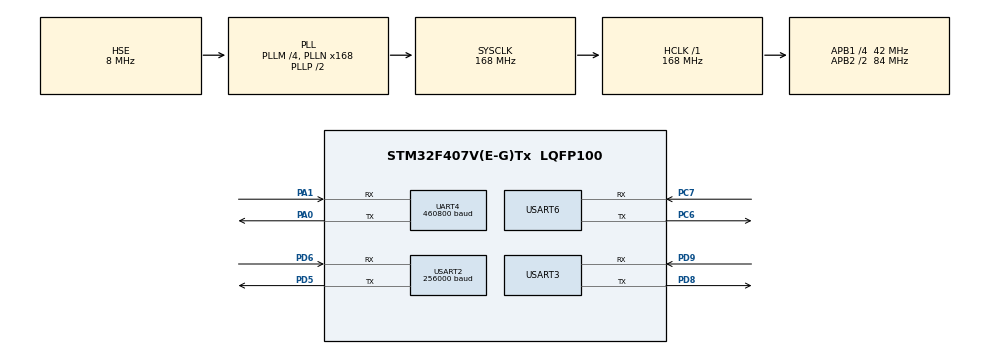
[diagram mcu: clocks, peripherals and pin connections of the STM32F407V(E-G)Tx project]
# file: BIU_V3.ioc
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Dma.Request0=USART2_RX
Dma.Request1=USART2_TX
Dma.Request2=USART3_RX
Dma.Request3=USART3_TX
Dma.Request4=UART4_RX
Dma.Request5=UART4_TX
Dma.Request6=USART6_RX
Dma.Request7=USART6_TX
Dma.UART4_RX.4.Direction=DMA_PERIPH_TO_MEMORY
Dma.UART4_RX.4.FIFOMode=DMA_FIFOMODE_DISABLE
Dma.UART4_RX.4.Instance=DMA1_Stream2
Dma.UART4_RX.4.MemDataAlignment=DMA_MDATAALIGN_BYTE
Dma.UART4_RX.4.MemInc=DMA_MINC_ENABLE
Dma.UART4_RX.4.Mode=DMA_NORMAL
Dma.UART4_RX.4.PeriphDataAlignment=DMA_PDATAALIGN_BYTE
Dma.UART4_RX.4.PeriphInc=DMA_PINC_DISABLE
Dma.UART4_RX.4.Priority=DMA_PRIORITY_LOW
Dma.UART4_TX.5.Direction=DMA_MEMORY_TO_PERIPH
Dma.UART4_TX.5.FIFOMode=DMA_FIFOMODE_DISABLE
Dma.UART4_TX.5.Instance=DMA1_Stream4
Dma.UART4_TX.5.MemDataAlignment=DMA_MDATAALIGN_BYTE
Dma.UART4_TX.5.MemInc=DMA_MINC_ENABLE
Dma.UART4_TX.5.Mode=DMA_NORMAL
Dma.UART4_TX.5.PeriphDataAlignment=DMA_PDATAALIGN_BYTE
Dma.UART4_TX.5.PeriphInc=DMA_PINC_DISABLE
Dma.UART4_TX.5.Priority=DMA_PRIORITY_LOW
Dma.USART2_RX.0.Direction=DMA_PERIPH_TO_MEMORY
Dma.USART2_RX.0.FIFOMode=DMA_FIFOMODE_DISABLE
Dma.USART2_RX.0.Instance=DMA1_Stream5
Dma.USART2_RX.0.MemDataAlignment=DMA_MDATAALIGN_BYTE
Dma.USART2_RX.0.MemInc=DMA_MINC_ENABLE
Dma.USART2_RX.0.Mode=DMA_NORMAL
Dma.USART2_RX.0.PeriphDataAlignment=DMA_PDATAALIGN_BYTE
Dma.USART2_RX.0.PeriphInc=DMA_PINC_DISABLE
Dma.USART2_RX.0.Priority=DMA_PRIORITY_LOW
Dma.USART2_TX.1.Direction=DMA_MEMORY_TO_PERIPH
Dma.USART2_TX.1.FIFOMode=DMA_FIFOMODE_DISABLE
Dma.USART2_TX.1.Instance=DMA1_Stream6
Dma.USART2_TX.1.MemDataAlignment=DMA_MDATAALIGN_BYTE
Dma.USART2_TX.1.MemInc=DMA_MINC_ENABLE
Dma.USART2_TX.1.Mode=DMA_NORMAL
Dma.USART2_TX.1.PeriphDataAlignment=DMA_PDATAALIGN_BYTE
Dma.USART2_TX.1.PeriphInc=DMA_PINC_DISABLE
Dma.USART2_TX.1.Priority=DMA_PRIORITY_LOW
Dma.USART3_RX.2.Direction=DMA_PERIPH_TO_MEMORY
Dma.USART3_RX.2.FIFOMode=DMA_FIFOMODE_DISABLE
Dma.USART3_RX.2.Instance=DMA1_Stream1
Dma.USART3_RX.2.MemDataAlignment=DMA_MDATAALIGN_BYTE
Dma.USART3_RX.2.MemInc=DMA_MINC_ENABLE
Dma.USART3_RX.2.Mode=DMA_NORMAL
Dma.USART3_RX.2.PeriphDataAlignment=DMA_PDATAALIGN_BYTE
Dma.USART3_RX.2.PeriphInc=DMA_PINC_DISABLE
Dma.USART3_RX.2.Priority=DMA_PRIORITY_LOW
Dma.USART3_TX.3.Direction=DMA_MEMORY_TO_PERIPH
Dma.USART3_TX.3.FIFOMode=DMA_FIFOMODE_DISABLE
Dma.USART3_TX.3.Instance=DMA1_Stream3
Dma.USART3_TX.3.MemDataAlignment=DMA_MDATAALIGN_BYTE
Dma.USART3_TX.3.MemInc=DMA_MINC_ENABLE
Dma.USART3_TX.3.Mode=DMA_NORMAL
Dma.USART3_TX.3.PeriphDataAlignment=DMA_PDATAALIGN_BYTE
Dma.USART3_TX.3.PeriphInc=DMA_PINC_DISABLE
Dma.USART3_TX.3.Priority=DMA_PRIORITY_LOW
Dma.USART6_RX.6.Direction=DMA_PERIPH_TO_MEMORY
Dma.USART6_RX.6.FIFOMode=DMA_FIFOMODE_DISABLE
Dma.USART6_RX.6.Instance=DMA2_Stream1
Dma.USART6_RX.6.MemDataAlignment=DMA_MDATAALIGN_BYTE
Dma.USART6_RX.6.MemInc=DMA_MINC_ENABLE
Dma.USART6_RX.6.Mode=DMA_NORMAL
Dma.USART6_RX.6.PeriphDataAlignment=DMA_PDATAALIGN_BYTE
Dma.USART6_RX.6.PeriphInc=DMA_PINC_DISABLE
Dma.USART6_RX.6.Priority=DMA_PRIORITY_LOW
Dma.USART6_TX.7.Direction=DMA_MEMORY_TO_PERIPH
Dma.USART6_TX.7.FIFOMode=DMA_FIFOMODE_DISABLE
Dma.USART6_TX.7.Instance=DMA2_Stream6
Dma.USART6_TX.7.MemDataAlignment=DMA_MDATAALIGN_BYTE
Dma.USART6_TX.7.MemInc=DMA_MINC_ENABLE
Dma.USART6_TX.7.Mode=DMA_NORMAL
Dma.USART6_TX.7.PeriphDataAlignment=DMA_PDATAALIGN_BYTE
Dma.USART6_TX.7.PeriphInc=DMA_PINC_DISABLE
Dma.USART6_TX.7.Priority=DMA_PRIORITY_LOW
FREERTOS.BinarySemaphores01=sendyawSemHandle,Dynamic,NULL,Available;sendpitchSemHandle,Dynamic,NULL,Available
FREERTOS.Events01=motor_stop,Dynamic,NULL
FREERTOS.Mutexes01=UART6,Dynamic,NULL,Available;UART2,Dynamic,NULL,Available
FREERTOS.Queues01=sendyawDataQueue,6,float,0,Dynamic,NULL,NULL;sendpitchDataQueue,6,float,0,Dynamic,NULL,NULL
FREERTOS.Tasks01=defaultTask,24,128,StartDefaultTask,Default,NULL,Dynamic,NULL,NULL;PID,8,128,StartTask02,Default,NULL,Dynamic,NULL,NULL;SendyawData,8,128,StartTask03,Default,NULL,Dynamic,NULL,NULL;SendpitchData,8,128,StartTask04,Default,NULL,Dynamic,NULL,NULL;BackPIDce,8,128,StartTask05,Default,NULL,Dynamic,NULL,NULL
FREERTOS.Timers01=htim_gimbal_ctrl,Callback01,osTimerPeriodic,Default,NULL,Dynamic,NULL
FREERTOS.configENABLE_FPU=1
Mcu.Family=STM32F4
Mcu.Name=STM32F407V(E-G)Tx
Mcu.Package=LQFP100
NVIC.DMA1_Stream1_IRQn=true\:5\:0\:false\:false\:true\:true\:false\:true\:true
NVIC.DMA1_Stream2_IRQn=true\:5\:0\:false\:false\:true\:true\:false\:true\:true
NVIC.DMA1_Stream3_IRQn=true\:5\:0\:false\:false\:true\:true\:false\:true\:true
NVIC.DMA1_Stream4_IRQn=true\:5\:0\:false\:false\:true\:true\:false\:true\:true
NVIC.DMA1_Stream5_IRQn=true\:5\:0\:false\:false\:true\:true\:false\:true\:true
NVIC.DMA1_Stream6_IRQn=true\:5\:0\:false\:false\:true\:true\:false\:true\:true
NVIC.DMA2_Stream1_IRQn=true\:5\:0\:false\:false\:true\:true\:false\:true\:true
NVIC.DMA2_Stream6_IRQn=true\:5\:0\:false\:false\:true\:true\:false\:true\:true
NVIC.PriorityGroup=NVIC_PRIORITYGROUP_4
NVIC.TIM6_DAC_IRQn=true\:15\:0\:false\:false\:true\:false\:false\:true\:true
NVIC.TimeBase=TIM6_DAC_IRQn
NVIC.TimeBaseIP=TIM6
NVIC.USART2_IRQn=true\:5\:0\:false\:false\:true\:true\:true\:true\:true
NVIC.USART3_IRQn=true\:5\:0\:false\:false\:true\:true\:true\:true\:true
NVIC.USART6_IRQn=true\:5\:0\:false\:false\:true\:true\:true\:true\:true
PA0-WKUP.Mode=Asynchronous
PA0-WKUP.Signal=UART4_TX
PA1.Mode=Asynchronous
PA1.Signal=UART4_RX
PA13.Mode=Serial_Wire
PA13.Signal=SYS_JTMS-SWDIO
PA14.Mode=Serial_Wire
PA14.Signal=SYS_JTCK-SWCLK
PC6.Mode=Asynchronous
PC6.Signal=USART6_TX
PC7.Mode=Asynchronous
PC7.Signal=USART6_RX
PD5.Mode=Asynchronous
PD5.Signal=USART2_TX
PD6.Mode=Asynchronous
PD6.Signal=USART2_RX
PD8.Mode=Asynchronous
PD8.Signal=USART3_TX
PD9.Mode=Asynchronous
PD9.Signal=USART3_RX
PH0-OSC_IN.Mode=HSE-External-Oscillator
PH0-OSC_IN.Signal=RCC_OSC_IN
PH1-OSC_OUT.Mode=HSE-External-Oscillator
PH1-OSC_OUT.Signal=RCC_OSC_OUT
ProjectManager.HeapSize=0x200
ProjectManager.StackSize=0x400
ProjectManager.TargetToolchain=MDK-ARM V5.32
RCC.48MHZClocksFreq_Value=84000000
RCC.AHBFreq_Value=168000000
RCC.APB1CLKDivider=RCC_HCLK_DIV4
RCC.APB1Freq_Value=42000000
RCC.APB1TimFreq_Value=84000000
RCC.APB2CLKDivider=RCC_HCLK_DIV2
RCC.APB2Freq_Value=84000000
RCC.APB2TimFreq_Value=168000000
RCC.CortexFreq_Value=168000000
RCC.HCLKFreq_Value=168000000
RCC.HSE_VALUE=8000000
RCC.HSI_VALUE=16000000
RCC.LSE_VALUE=32768
RCC.PLLM=4
RCC.PLLN=168
RCC.PLLSourceVirtual=RCC_PLLSOURCE_HSE
RCC.SYSCLKFreq_VALUE=168000000
RCC.SYSCLKSource=RCC_SYSCLKSOURCE_PLLCLK
RCC.VCOOutputFreq_Value=336000000
UART4.BaudRate=460800
UART4.VirtualMode=Asynchronous
USART2.BaudRate=256000
USART2.VirtualMode=VM_ASYNC
USART3.VirtualMode=VM_ASYNC
USART6.VirtualMode=VM_ASYNC
VP_FREERTOS_VS_CMSIS_V2.Mode=CMSIS_V2
VP_SYS_VS_tim6.Mode=TIM6
board=custom

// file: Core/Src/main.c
/* USER CODE BEGIN Header */
/**
 ******************************************************************************
 * @file           : main.c
 * @brief          : Main program body
 ******************************************************************************
 * @attention
 *
 * Copyright (c) 2025 STMicroelectronics.
 * All rights reserved.
 *
 * This software is licensed under terms that can be found in the LICENSE file
 * in the root directory of this software component.
 * If no LICENSE file comes with this software, it is provided AS-IS.
 *
 ******************************************************************************
 */
/* USER CODE END Header */
#include "main.h"
#include "cmsis_os.h"
#include "dma.h"
#include "usart.h"
#include "gpio.h"

/* USER CODE BEGIN Includes */
#include "PID.h"
#include "FreeRTOS.h"
#include "queue.h"
#include "stdio.h"
/* USER CODE END Includes */

/* USER CODE BEGIN PV */
uint8_t receiveData[7]; // 接收数据缓存
uint8_t vofacmd_data[8]; // 接收数据缓存
QueueHandle_t receiveDataQueue = NULL;// 接收数据队列
PID_Controller pid_pitch;// PID控制器俯仰
PID_Controller pid_yaw;// PID控制器偏航
uint8_t uartTxReady = 0; // 串口发送完成标志
uint8_t uartTxReady6 = 0; // 串口6发送完成标志
// PID参数
float pid_kp = 0.1f;
float pid_ki = 0.0f;
float pid_kd = 0.5f;
uint8_t pid_ce = 0;// PID修改标志
uint8_t pid_hc = 0; // PID回传参数标志

/* USER CODE END PV */

void SystemClock_Config(void);
void MX_FREERTOS_Init(void);

/* USER CODE BEGIN 0 */
void HAL_UART_TxCpltCallback(UART_HandleTypeDef *huart) {
        if(huart == &huart2) {
            uartTxReady = 0; // 标记发送完成，可以再次发送
            // 这里也可以进行其他的处理
        }
        if(huart == &huart6) {
            uartTxReady6 = 0; // 标记发送完成，可以再次发送
        }
    }
/* USER CODE END 0 */

int main(void)
{

  /* MCU Configuration--------------------------------------------------------*/

  /* Reset of all peripherals, Initializes the Flash interface and the Systick. */
  HAL_Init();

  /* Configure the system clock */
  SystemClock_Config();

  /* Initialize all configured peripherals */
  MX_GPIO_Init();
  MX_DMA_Init();
  MX_USART2_UART_Init();
  MX_USART3_UART_Init();
  MX_UART4_Init();
  MX_USART6_UART_Init();
  /* USER CODE BEGIN 2 */
	// 启动定时器4串口接收（接收字节长度7的数据）
	//HAL_UART_Receive_DMA(&huart4, receiveData, 7);
	// 启动定时器6串口接收（接收字节长度8的数据）
	HAL_UART_Receive_DMA(&huart6, vofacmd_data, 8);
	// 创建接收数据队列
	receiveDataQueue = xQueueCreate(5, sizeof(SensorData_t));

	// PID参数初始化
	PID_Init(&pid_yaw, pid_kp, pid_ki, pid_kd);
    PID_Init(&pid_pitch, pid_kp, pid_ki, pid_kd);
  /* USER CODE END 2 */

  /* Init scheduler */
  osKernelInitialize();  /* Call init function for freertos objects (in cmsis_os2.c) */
  MX_FREERTOS_Init();

  /* Start scheduler */
  osKernelStart();

  /* We should never get here as control is now taken by the scheduler */

  /* Infinite loop */
	while (1)
	{

	}
}

void SystemClock_Config(void)
{
  RCC_OscInitTypeDef RCC_OscInitStruct = {0};
  RCC_ClkInitTypeDef RCC_ClkInitStruct = {0};

  /** Configure the main internal regulator output voltage
  */
  __HAL_RCC_PWR_CLK_ENABLE();
  __HAL_PWR_VOLTAGESCALING_CONFIG(PWR_REGULATOR_VOLTAGE_SCALE1);

  /** Initializes the RCC Oscillators according to the specified parameters
  * in the RCC_OscInitTypeDef structure.
  */
  RCC_OscInitStruct.OscillatorType = RCC_OSCILLATORTYPE_HSE;
  RCC_OscInitStruct.HSEState = RCC_HSE_ON;
  RCC_OscInitStruct.PLL.PLLState = RCC_PLL_ON;
  RCC_OscInitStruct.PLL.PLLSource = RCC_PLLSOURCE_HSE;
  RCC_OscInitStruct.PLL.PLLM = 4;
  RCC_OscInitStruct.PLL.PLLN = 168;
  RCC_OscInitStruct.PLL.PLLP = RCC_PLLP_DIV2;
  RCC_OscInitStruct.PLL.PLLQ = 4;
  if (HAL_RCC_OscConfig(&RCC_OscInitStruct) != HAL_OK)
  {
    Error_Handler();
  }

  /** Initializes the CPU, AHB and APB buses clocks
  */
  RCC_ClkInitStruct.ClockType = RCC_CLOCKTYPE_HCLK|RCC_CLOCKTYPE_SYSCLK
                              |RCC_CLOCKTYPE_PCLK1|RCC_CLOCKTYPE_PCLK2;
  RCC_ClkInitStruct.SYSCLKSource = RCC_SYSCLKSOURCE_PLLCLK;
  RCC_ClkInitStruct.AHBCLKDivider = RCC_SYSCLK_DIV1;
  RCC_ClkInitStruct.APB1CLKDivider = RCC_HCLK_DIV4;
  RCC_ClkInitStruct.APB2CLKDivider = RCC_HCLK_DIV2;

  if (HAL_RCC_ClockConfig(&RCC_ClkInitStruct, FLASH_LATENCY_5) != HAL_OK)
  {
    Error_Handler();
  }
}

/* USER CODE BEGIN 4 */
void HAL_UART_RxCpltCallback(UART_HandleTypeDef *huart)
{
	if (0)
    {
		SensorData_t Data;
		if (receiveData[0] == 0xAA && receiveData[1] == 0xAF && receiveData[6] == 0xFE)
		{
			Data.x = (int16_t)((receiveData[2] << 8) | receiveData[3]);
			Data.y = (int16_t)((receiveData[4] << 8) | receiveData[5]);
            BaseType_t xHigherPriorityTaskWoken = pdFALSE;
			xQueueSendToBackFromISR(receiveDataQueue, &Data, &xHigherPriorityTaskWoken);
			portYIELD_FROM_ISR(xHigherPriorityTaskWoken);
        }
		// 重新启动DMA接收
		HAL_UART_Receive_DMA(&huart4, receiveData, 7);
	}
  if (huart == &huart6){
    if (vofacmd_data[0] == 0xAA && vofacmd_data[1] == 0xAF && vofacmd_data[7] == 0xFE){
      // 处理vofa命令数据
      SensorData_t Data;
      float value;
      BaseType_t xHigherPriorityTaskWoken = pdFALSE;
      switch (vofacmd_data[2])
      {
      case 0x01:
        // 修改P
        memcpy(&value, vofacmd_data + 3, 4);
        pid_kp = value;
        pid_ce = 1;
        break;
      case 0x02:
        // 修改I
        memcpy(&value, vofacmd_data + 3, 4);
        pid_ki = value;
        pid_ce = 1;
        break;
      case 0x03:
        // 修改D
        memcpy(&value, vofacmd_data + 3, 4);
        pid_kd = value;
        pid_ce = 1;
        break;
      case 0x04:
        // 修改误差量
        if (vofacmd_data[3] == 0x00 && vofacmd_data[4] == 0x00 && vofacmd_data[5] == 0x80 && vofacmd_data[6] == 0x3F){
          pid_hc = 1;
        }
        break;
      case 0x05:
        // 修改控制量
        memcpy(&value, vofacmd_data + 3, 4);
        Data.x = (int16_t)value;
        Data.y = 0;
        xQueueSendToBackFromISR(receiveDataQueue, &Data, &xHigherPriorityTaskWoken);
        portYIELD_FROM_ISR(xHigherPriorityTaskWoken);
        break;
      default:
        break;
      }
    }
    HAL_UART_Receive_DMA(&huart6, vofacmd_data, 8);
  }
}
/* USER CODE END 4 */

void HAL_TIM_PeriodElapsedCallback(TIM_HandleTypeDef *htim)
{
  if (htim->Instance == TIM6)
  {
    HAL_IncTick();
  }
}

void Error_Handler(void)
{
	__disable_irq();
	while (1)
	{
	}
}

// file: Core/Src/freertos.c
/* USER CODE BEGIN Header */
/**
  ******************************************************************************
  * File Name          : freertos.c
  * Description        : Code for freertos applications
  ******************************************************************************
  * @attention
  *
  * Copyright (c) 2025 STMicroelectronics.
  * All rights reserved.
  *
  * This software is licensed under terms that can be found in the LICENSE file
  * in the root directory of this software component.
  * If no LICENSE file comes with this software, it is provided AS-IS.
  *
  ******************************************************************************
  */
/* USER CODE END Header */

#include "FreeRTOS.h"
#include "task.h"
#include "main.h"
#include "cmsis_os.h"

/* USER CODE BEGIN Includes */
#include "queue.h"
#include "stdio.h"
#include "PID.h"
/* USER CODE END Includes */

/* USER CODE BEGIN PD */
// 事件组标志位
#define EVENT_BIT_0 (1 << 0) // 偏航云台急停
#define EVENT_BIT_1 (1 << 1) // 俯仰云台急停
/* USER CODE END PD */

/* USER CODE BEGIN Variables */
extern QueueHandle_t receiveDataQueue;
// PID控制器实例
extern PID_Controller pid_pitch;
extern PID_Controller pid_yaw;
extern uint8_t uartTxReady;
extern uint8_t uartTxReady6;
extern float pid_kp;
extern float pid_ki;
extern float pid_kd;
extern uint8_t pid_ce; // PID修改标志
extern uint8_t pid_hc; // PID回传参数标志
/* USER CODE END Variables */
/* Definitions for defaultTask */
osThreadId_t defaultTaskHandle;
const osThreadAttr_t defaultTask_attributes = {
  .name = "defaultTask",
  .stack_size = 128 * 4,
  .priority = (osPriority_t) osPriorityNormal,
};
/* Definitions for PID */
osThreadId_t PIDHandle;
const osThreadAttr_t PID_attributes = {
  .name = "PID",
  .stack_size = 128 * 4,
  .priority = (osPriority_t) osPriorityLow,
};
/* Definitions for SendyawData */
osThreadId_t SendyawDataHandle;
const osThreadAttr_t SendyawData_attributes = {
  .name = "SendyawData",
  .stack_size = 128 * 4,
  .priority = (osPriority_t) osPriorityLow,
};
/* Definitions for SendpitchData */
osThreadId_t SendpitchDataHandle;
const osThreadAttr_t SendpitchData_attributes = {
  .name = "SendpitchData",
  .stack_size = 128 * 4,
  .priority = (osPriority_t) osPriorityLow,
};
/* Definitions for BackPIDce */
osThreadId_t BackPIDceHandle;
const osThreadAttr_t BackPIDce_attributes = {
  .name = "BackPIDce",
  .stack_size = 128 * 4,
  .priority = (osPriority_t) osPriorityLow,
};
/* Definitions for sendyawDataQueue */
osMessageQueueId_t sendyawDataQueueHandle;
const osMessageQueueAttr_t sendyawDataQueue_attributes = {
  .name = "sendyawDataQueue"
};
/* Definitions for sendpitchDataQueue */
osMessageQueueId_t sendpitchDataQueueHandle;
const osMessageQueueAttr_t sendpitchDataQueue_attributes = {
  .name = "sendpitchDataQueue"
};
/* Definitions for htim_gimbal_ctrl */
osTimerId_t htim_gimbal_ctrlHandle;
const osTimerAttr_t htim_gimbal_ctrl_attributes = {
  .name = "htim_gimbal_ctrl"
};
/* Definitions for UART6 */
osMutexId_t UART6Handle;
const osMutexAttr_t UART6_attributes = {
  .name = "UART6"
};
/* Definitions for UART2 */
osMutexId_t UART2Handle;
const osMutexAttr_t UART2_attributes = {
  .name = "UART2"
};
/* Definitions for sendyawSemHandle */
osSemaphoreId_t sendyawSemHandleHandle;
const osSemaphoreAttr_t sendyawSemHandle_attributes = {
  .name = "sendyawSemHandle"
};
/* Definitions for sendpitchSemHandle */
osSemaphoreId_t sendpitchSemHandleHandle;
const osSemaphoreAttr_t sendpitchSemHandle_attributes = {
  .name = "sendpitchSemHandle"
};
/* Definitions for motor_stop */
osEventFlagsId_t motor_stopHandle;
const osEventFlagsAttr_t motor_stop_attributes = {
  .name = "motor_stop"
};

/* USER CODE BEGIN FunctionPrototypes */
void send_motor_cmd(uint8_t motor_id, uint8_t direction, uint16_t speed, uint8_t accel_level,
				   uint32_t pulse_count, uint8_t pos_mode, uint8_t sync_enable);
void send_gimbal_motor_cmd(uint8_t motor_id, uint8_t direction, uint16_t speed, uint8_t accel_level,
				   uint32_t pulse_count, uint8_t pos_mode, uint8_t sync_enable);
void send_VOFA_data(float ch1, float ch2, float ch3, float ch4);
/* USER CODE END FunctionPrototypes */

void StartDefaultTask(void *argument);
void StartTask02(void *argument);
void StartTask03(void *argument);
void StartTask04(void *argument);
void StartTask05(void *argument);
void Callback01(void *argument);

void MX_FREERTOS_Init(void); /* (MISRA C 2004 rule 8.1) */

void MX_FREERTOS_Init(void) {
  /* Create the mutex(es) */
  /* creation of UART6 */
  UART6Handle = osMutexNew(&UART6_attributes);

  /* creation of UART2 */
  UART2Handle = osMutexNew(&UART2_attributes);

  /* Create the semaphores(s) */
  /* creation of sendyawSemHandle */
  sendyawSemHandleHandle = osSemaphoreNew(1, 1, &sendyawSemHandle_attributes);

  /* creation of sendpitchSemHandle */
  sendpitchSemHandleHandle = osSemaphoreNew(1, 1, &sendpitchSemHandle_attributes);

  /* Create the timer(s) */
  /* creation of htim_gimbal_ctrl */
  htim_gimbal_ctrlHandle = osTimerNew(Callback01, osTimerPeriodic, NULL, &htim_gimbal_ctrl_attributes);

  /* USER CODE BEGIN RTOS_TIMERS */
  /* start timers, add new ones, ... */
  osTimerStart(htim_gimbal_ctrlHandle, 50);
  /* USER CODE END RTOS_TIMERS */

  /* Create the queue(s) */
  /* creation of sendyawDataQueue */
  sendyawDataQueueHandle = osMessageQueueNew (6, sizeof(float), &sendyawDataQueue_attributes);

  /* creation of sendpitchDataQueue */
  sendpitchDataQueueHandle = osMessageQueueNew (6, sizeof(float), &sendpitchDataQueue_attributes);

  /* Create the thread(s) */
  /* creation of defaultTask */
  defaultTaskHandle = osThreadNew(StartDefaultTask, NULL, &defaultTask_attributes);

  /* creation of PID */
  PIDHandle = osThreadNew(StartTask02, NULL, &PID_attributes);

  /* creation of SendyawData */
  SendyawDataHandle = osThreadNew(StartTask03, NULL, &SendyawData_attributes);

  /* creation of SendpitchData */
  SendpitchDataHandle = osThreadNew(StartTask04, NULL, &SendpitchData_attributes);

  /* creation of BackPIDce */
  BackPIDceHandle = osThreadNew(StartTask05, NULL, &BackPIDce_attributes);

  /* creation of motor_stop */
  motor_stopHandle = osEventFlagsNew(&motor_stop_attributes);

}

void StartDefaultTask(void *argument)
{
  /* USER CODE BEGIN StartDefaultTask */
  /* Infinite loop */
  for(;;)
  {
	//获取互斥量，获取成功后打印调试信息，然后释放互斥量
	if (osMutexAcquire(UART6Handle, osWaitForever) == osOK) {
		printf("FreeRTOS is running...\r\n");
		osMutexRelease(UART6Handle);
	}
	osDelay(1000);
  }
  /* USER CODE END StartDefaultTask */
}

void StartTask02(void *argument)
{
  /* USER CODE BEGIN StartTask02 */

  /* Infinite loop */
  for(;;)
  {
	  SensorData_t RecvData;
	  float target_yaw_deg = 0;
	  float target_pitch_deg = 0;
	  if (xQueueReceive(receiveDataQueue, &RecvData, portMAX_DELAY) == pdPASS) {
		  	if (RecvData.x < 10 && RecvData.x > -10){
				RecvData.x = 0;
				//标志位motor_stopHandle，表示云台急停
				osEventFlagsSet(motor_stopHandle, EVENT_BIT_0);
			}
			if (RecvData.y < 10 && RecvData.y > -10){
				RecvData.y = 0;
				//标志位motor_stopHandle，表示云台急停
				osEventFlagsSet(motor_stopHandle, EVENT_BIT_1);
			}

			target_yaw_deg = RecvData.x / 1.0;
			target_pitch_deg = RecvData.y / 1.0;

			//printf("x: %d, y: %d\r\n", target_yaw_deg, target_pitch_deg);
	  }
	  float yaw_out = PID_Compute(&pid_yaw, target_yaw_deg);
	  float pitch_out = 0;
		  //PID_Compute(&pid_pitch, target_pitch_deg);

	  // 发送计算后的角度数据到发送队列
	  // yaw放数据前判断队列是否已满，满了就先取出一个
	  if (osMessageQueueGetCount(sendyawDataQueueHandle) == osMessageQueueGetCapacity(sendyawDataQueueHandle)) {
		  float dummy;
		  osMessageQueueGet(sendyawDataQueueHandle, &dummy, NULL, 0); // 丢弃最旧数据
	  }
	  osMessageQueuePut(sendyawDataQueueHandle, &yaw_out, 0, 0);
	  // pitch放数据前判断队列是否已满，满了就先取出一个
	  if (osMessageQueueGetCount(sendpitchDataQueueHandle) == osMessageQueueGetCapacity(sendpitchDataQueueHandle)) {
		  float dummy;
		  osMessageQueueGet(sendpitchDataQueueHandle, &dummy, NULL, 0); // 丢弃最旧数据
	  }
	  osMessageQueuePut(sendpitchDataQueueHandle, &pitch_out, 0, 0);
	osDelay(10);
  }
  /* USER CODE END StartTask02 */
}

void StartTask03(void *argument)
{
  /* USER CODE BEGIN StartTask03 */
  /* Infinite loop */
  for(;;)
  {
    // 等待信号量，确保定时器周期到达后再发送数据
    if(osSemaphoreAcquire(sendyawSemHandleHandle, osWaitForever) == osOK){
        // 从发送队列中接收数据
	    float yaw;
	    if (osMessageQueueGet(sendyawDataQueueHandle, &yaw, NULL, osWaitForever) == osOK) {
			//判断云台状态
			uint32_t event_flags = osEventFlagsWait(motor_stopHandle, EVENT_BIT_0, osFlagsWaitAny, 0);
		    // 发送数据处理，例如通过UART发送
		    uint16_t speed = 500;
		    if(event_flags == EVENT_BIT_0){
			    send_gimbal_motor_cmd(0x01, 0xFF, 0x00, 0x00, 0x00, 0x00, 0x00);
		    }
			else {
		    	if(yaw > 0){//正转
					uint32_t outyaw = (uint32_t)(142.0f * yaw * 6.0f);
					send_gimbal_motor_cmd(0x01, 0x00, speed, 0xDD, outyaw, 0x00, 0x00);
		    	}
		    	else{//反转
					yaw = -yaw;
					uint32_t outyaw = (uint32_t)(142.0f * yaw * 6.0f);
					send_gimbal_motor_cmd(0x01, 0x01, speed, 0xDD, outyaw, 0x00, 0x00);
	        	}
			}
			//获取互斥量，获取成功后打印调试信息，然后释放互斥量
			if (osMutexAcquire(UART6Handle, osWaitForever) == osOK) {
			    printf("Yaw: %.2f\r\n", yaw);
			    osMutexRelease(UART6Handle);
		    }
	    }
    }
    osDelay(5);
  }
  /* USER CODE END StartTask03 */
}

void StartTask04(void *argument)
{
  /* USER CODE BEGIN StartTask04 */
  /* Infinite loop */
  for(;;)
  {
	// 等待信号量，确保定时器周期到达后再发送数据
    if(osSemaphoreAcquire(sendpitchSemHandleHandle, osWaitForever) == osOK){
        // 从发送队列中接收数据
	    float pitch;
	    if (osMessageQueueGet(sendpitchDataQueueHandle, &pitch, NULL, osWaitForever) == osOK) {
			//判断云台状态
			uint32_t event_flags = osEventFlagsWait(motor_stopHandle, EVENT_BIT_1, osFlagsWaitAny, 0);
		    // 发送数据处理，例如通过UART发送
		    uint16_t speed = 500;
		    if(event_flags == EVENT_BIT_1){
			    send_gimbal_motor_cmd(0x02, 0xFF, 0x00, 0x00, 0x00, 0x00, 0x00);
		    }
			else {
		    	if(pitch > 0){//正转
					uint32_t outpitch = (uint32_t)(142.0f * pitch * 6.0f);
					send_gimbal_motor_cmd(0x02, 0x01, speed, 0xDD, outpitch, 0x00, 0x00);
		    	}
		    	else{//反转
					pitch = -pitch;
					uint32_t outpitch = (uint32_t)(142.0f * pitch * 6.0f);
					send_gimbal_motor_cmd(0x02, 0x00, speed, 0xDD, outpitch, 0x00, 0x00);
	        	}
			}
			//获取互斥量，获取成功后打印调试信息，然后释放互斥量
			if (osMutexAcquire(UART6Handle, osWaitForever) == osOK) {
			    printf("Pitch: %.2f\r\n", pitch);
			    osMutexRelease(UART6Handle);
		    }
	    }
    }
    osDelay(5);
  }
  /* USER CODE END StartTask04 */
}

void StartTask05(void *argument)
{
  /* USER CODE BEGIN StartTask05 */
  /* Infinite loop */
  for(;;)
  {
    //send_VOFA_data(1.0f, 2.0f, 3.0f, 4.0f);
    if (pid_ce) {

        PID_SetTunings(&pid_yaw, pid_kp, pid_ki, pid_kd);
        pid_ce = 0;

        if (osMutexAcquire(UART6Handle, osWaitForever) == osOK) {
		    printf("PID 修改完成\r\n");
		    osMutexRelease(UART6Handle);
	    }
    }
    if (pid_hc) {
        if (osMutexAcquire(UART6Handle, osWaitForever) == osOK) {
            printf("回传PID参数: Kp=%.2f, Ki=%.2f, Kd=%.2f\r\n", pid_yaw.Kp, pid_yaw.Ki, pid_yaw.Kd);
            osMutexRelease(UART6Handle);
        }
        pid_hc = 0;
    }
    osDelay(100);
  }
  /* USER CODE END StartTask05 */
}

/* Callback01 function */
void Callback01(void *argument)
{
  /* USER CODE BEGIN Callback01 */
    //释放sendSemHandleHandle信号量
    osSemaphoreRelease(sendyawSemHandleHandle);
	//释放sendpitchSemHandle信号量
	osSemaphoreRelease(sendpitchSemHandleHandle);
  /* USER CODE END Callback01 */
}

/* USER CODE BEGIN Application */
void send_motor_cmd(uint8_t motor_id, uint8_t direction, uint16_t speed, uint8_t accel_level,
                   uint32_t pulse_count, uint8_t pos_mode, uint8_t sync_enable) {
    if(!uartTxReady) { // 只有在上次发送完成后才发送新指令
        static uint8_t cmd[13];
        cmd[0] = motor_id;
        cmd[1] = 0xFD;
        cmd[2] = direction;
        cmd[3] = (speed >> 8) & 0xFF;
        cmd[4] = speed & 0xFF;
        cmd[5] = accel_level;
        cmd[6] = (pulse_count >> 24) & 0xFF;
        cmd[7] = (pulse_count >> 16) & 0xFF;
        cmd[8] = (pulse_count >> 8) & 0xFF;
        cmd[9] = pulse_count & 0xFF;
        cmd[10] = pos_mode;
        cmd[11] = sync_enable;
        cmd[12] = 0x6B;
		if (osMutexAcquire(UART2Handle, osWaitForever) == osOK) {
        	HAL_UART_Transmit_DMA(&huart2, cmd, 13);
			osMutexRelease(UART2Handle);
		}
        uartTxReady = 1; // 标记正在发送，等待发送完成
    }
}

//云台电机控制发送函数
/**
* @brief 云台电机控制发送函数（带模式参数）
* @param motor_id: 电机ID，0x01为偏航云台，0x02为俯仰云台
* @param direction: 方向，0x00为正转，0x01为反转 0xFF为停止
* @param speed: 速度，单位为脉冲每秒（PPS）
* @param accel_level: 加速度等级
* @param pulse_count: 脉冲数，控制转动角度
* @param pos_mode: 位置模式
* @param sync_enable: 同步使能
* @retval None
*/
void send_gimbal_motor_cmd(uint8_t motor_id, uint8_t direction, uint16_t speed, uint8_t accel_level,
				   uint32_t pulse_count, uint8_t pos_mode, uint8_t sync_enable) {
	if(direction != 0xFF) { // 启动控制
		send_motor_cmd(motor_id, direction, speed, accel_level, pulse_count, pos_mode, sync_enable);
	}
	else {// 急停控制
		uint8_t stop[5] = {motor_id, 0xFE, 0x98, 0x00, 0x6B};
		if(uartTxReady == 0) { // 只有在上次发送完成后才发送新指令
			if (osMutexAcquire(UART2Handle, osWaitForever) == osOK) {
				HAL_UART_Transmit_DMA(&huart2, stop, 5);
				osMutexRelease(UART2Handle);
			}
			uartTxReady = 1; // 标记正在发送，等待发送完成
		}
	}
}

//VOFA数据发送函数
void send_VOFA_data(float ch1, float ch2, float ch3, float ch4) {
    if(uartTxReady6 == 0) {
        static uint8_t vofa_data[20];

        memcpy(vofa_data, &ch1, sizeof(ch1));
        memcpy(vofa_data + 4, &ch2, sizeof(ch2));
        memcpy(vofa_data + 8, &ch3, sizeof(ch3));
        memcpy(vofa_data + 12, &ch4, sizeof(ch4));
		vofa_data[16] = 0x00;
        vofa_data[17] = 0x00;
        vofa_data[18] = 0x80;
        vofa_data[19] = 0x7f;
        //for(int i=0;i<20;i++) printf("%02X ", ((uint8_t*)&vofa_data)[i]);
        if (osMutexAcquire(UART6Handle, osWaitForever) == osOK) {
            HAL_UART_Transmit_DMA(&huart6, vofa_data, 20);
            osMutexRelease(UART6Handle);
        }
        uartTxReady6 = 1;
    }
}
/* USER CODE END Application */
